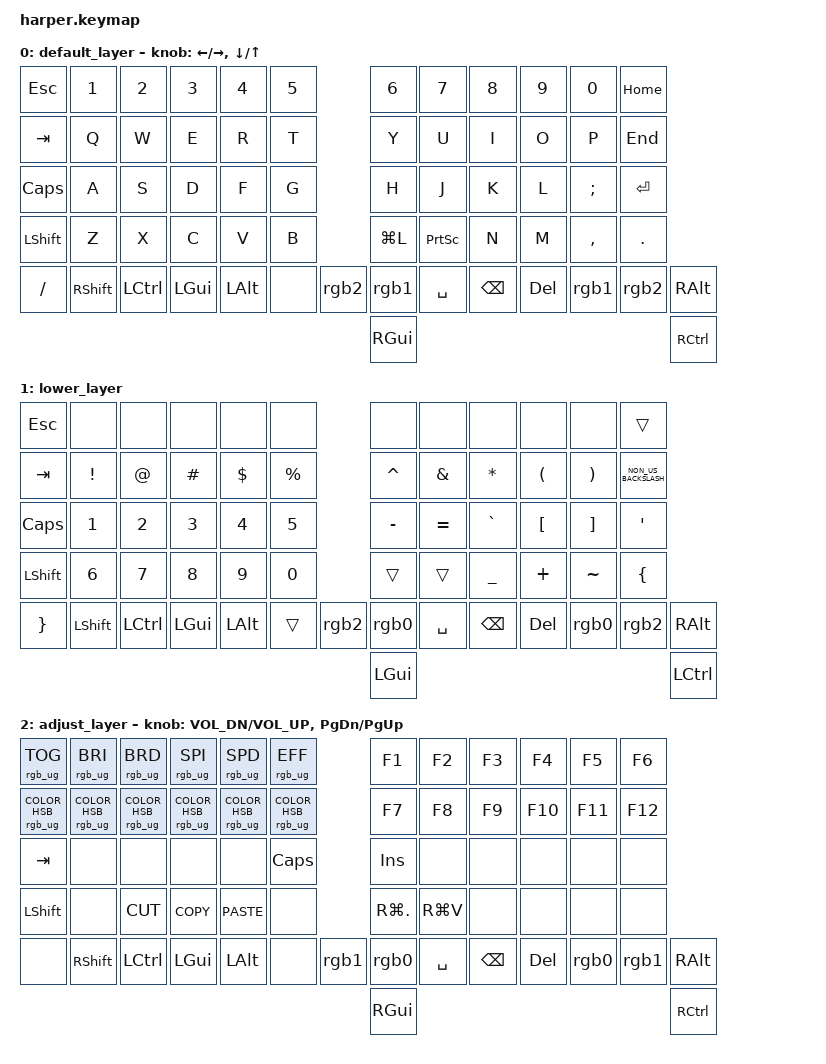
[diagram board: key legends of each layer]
#include <behaviors.dtsi>
#include <dt-bindings/zmk/keys.h>
#include <dt-bindings/zmk/rgb.h>

#define DEF 0
#define LWR 1
#define RSE 2
#define ADJ 3

&lt {
    quick_tap_ms = <200>;
};

&mt {
    quick_tap_ms = <200>;
};

/ {
    macros {
        ez: ez {
            compatible = "zmk,behavior-macro";
            #binding-cells = <0>;
            bindings = <&kp FSLH &kp E &kp Z &kp ENTER>;
            label = "EZ";
        };

        get_better: get_better {
            compatible = "zmk,behavior-macro";
            #binding-cells = <0>;
            bindings = <&kp FSLH &kp G &kp E &kp T &kp SPACE &kp B &kp E &kp T &kp T &kp E &kp R &kp SPACE &kp B &kp U &kp D &kp D &kp Y &kp ENTER>;
            label = "GET_BETTER";
        };

        cry: cry {
            compatible = "zmk,behavior-macro";
            #binding-cells = <0>;
            bindings = <&kp FSLH &kp D &kp O &kp N &kp SQT &kp T &kp SPACE &kp C &kp R &kp Y &kp ENTER>;
            label = "CRY";
        };

        weak: weak {
            compatible = "zmk,behavior-macro";
            #binding-cells = <0>;
            bindings = <&kp FSLH &kp Y &kp O &kp U &kp SQT &kp R &kp E &kp SPACE &kp S &kp O &kp SPACE &kp W &kp E &kp A &kp K &kp SPACE &kp L &kp M &kp A &kp O &kp ENTER>;
            label = "WEAK";
        };

        del: del {
            compatible = "zmk,behavior-macro";
            #binding-cells = <0>;
            bindings = <&kp FSLH &kp D &kp E &kp L &kp E &kp T &kp E &kp SPACE &kp T &kp H &kp I &kp S &kp SPACE &kp G &kp A &kp M &kp E &kp SPACE &kp T &kp R &kp A &kp S &kp H &kp ENTER>;
            label = "DEL";
        };

        god: god {
            compatible = "zmk,behavior-macro";
            #binding-cells = <0>;
            bindings = <&kp SLASH &kp LS(I) &kp SPACE &kp A &kp M &kp SPACE &kp G &kp O &kp D &kp SPACE &kp H &kp E &kp R &kp E &kp RET>;
            label = "GOD";
        };

        fish: fish {
            compatible = "zmk,behavior-macro";
            #binding-cells = <0>;
            bindings = <&kp FSLH &kp LS(I) &kp SPACE &kp A &kp M &kp SPACE &kp J &kp U &kp S &kp T &kp SPACE &kp A &kp SPACE &kp F &kp I &kp S &kp H &kp RET>;
            label = "FISH";
        };

        rgb1: rgb1 {
            compatible = "zmk,behavior-macro";
            #binding-cells = <0>;
            bindings = <&tog 1 &rgb_ug RGB_COLOR_HSB(183,100,79)>;
            label = "RGB1";
        };

        rgb2: rgb2 {
            compatible = "zmk,behavior-macro";
            #binding-cells = <0>;
            bindings = <&to 2 &rgb_ug RGB_COLOR_HSB(104,100,78)>;
            label = "RGB2";
        };

        rgb0: rgb0 {
            compatible = "zmk,behavior-macro";
            #binding-cells = <0>;
            bindings = <&to 0 &rgb_ug RGB_COLOR_HSB(300,93,78)>;
            label = "RGB0";
        };
    };

    combos {
        compatible = "zmk,combos";

        f1 {
            bindings = <&kp F1>;
            key-positions = <50 1>;
        };
    };

    keymap {
        compatible = "zmk,keymap";

        default_layer {
            bindings = <
&kp ESC    &kp N1     &kp N2     &kp N3    &kp N4    &kp N5         &kp N6     &kp N7           &kp N8         &kp N9      &kp N0     &kp HOME
&kp TAB    &kp Q      &kp W      &kp E     &kp R     &kp T          &kp Y      &kp U            &kp I          &kp O       &kp P      &kp END
&kp CAPS   &kp A      &kp S      &kp D     &kp F     &kp G          &kp H      &kp J            &kp K          &kp L       &kp SEMI   &kp ENTER
&kp LSHFT  &kp Z      &kp X      &kp C     &kp V     &kp B          &kp LG(L)  &kp PRINTSCREEN  &kp N          &kp M       &kp COMMA  &kp DOT
&kp FSLH   &kp RSHFT  &kp LCTRL  &kp LGUI  &kp LALT  &none   &rgb2  &rgb1      &kp SPACE        &kp BACKSPACE  &kp DELETE  &rgb1      &rgb2      &kp RALT
                                                                    &kp RGUI                                                                     &kp RCTRL
            >;

            sensor-bindings = <&inc_dec_kp LEFT_ARROW RIGHT_ARROW &inc_dec_kp DOWN_ARROW UP_ARROW>;
        };

        lower_layer {
            bindings = <
&kp ESC          &none            &none        &none     &none       &none               &none      &none          &none           &none                 &none                  &trans
&kp TAB          &kp EXCLAMATION  &kp AT_SIGN  &kp HASH  &kp DOLLAR  &kp PERCENT         &kp CARET  &kp AMPERSAND  &kp ASTERISK    &kp LEFT_PARENTHESIS  &kp RIGHT_PARENTHESIS  &kp NON_US_BACKSLASH
&kp CAPS         &kp N1           &kp N2       &kp N3    &kp N4      &kp N5              &kp MINUS  &kp EQUAL      &kp GRAVE       &kp LBKT              &kp RBKT               &kp SINGLE_QUOTE
&kp LSHFT        &kp N6           &kp N7       &kp N8    &kp N9      &kp N0              &trans     &trans         &kp UNDERSCORE  &kp PLUS              &kp TILDE              &kp LEFT_BRACE
&kp RIGHT_BRACE  &kp LSHFT        &kp LCTRL    &kp LGUI  &kp LALT    &trans       &rgb2  &rgb0      &kp SPACE      &kp BSPC        &kp DEL               &rgb0                  &rgb2                 &kp RALT
                                                                                         &kp LGUI                                                                                                     &kp LCTRL
            >;
        };

        adjust_layer {
            bindings = <
&rgb_ug RGB_TOG                   &rgb_ug RGB_BRI                   &rgb_ug RGB_BRD                   &rgb_ug RGB_SPI                   &rgb_ug RGB_SPD                   &rgb_ug RGB_EFF                          &kp F1          &kp F2     &kp F3         &kp F4      &kp F5   &kp F6
&rgb_ug RGB_COLOR_HSB(296,90,79)  &rgb_ug RGB_COLOR_HSB(60,100,76)  &rgb_ug RGB_COLOR_HSB(142,74,71)  &rgb_ug RGB_COLOR_HSB(38,100,83)  &rgb_ug RGB_COLOR_HSB(241,93,61)  &rgb_ug RGB_COLOR_HSB(279,77,33)         &kp F7          &kp F8     &kp F9         &kp F10     &kp F11  &kp F12
&kp TAB                           &none                             &none                             &none                             &none                             &kp CLCK                                 &kp INSERT      &none      &none          &none       &none    &none
&kp LEFT_SHIFT                    &none                             &kp K_CUT                         &kp K_COPY                        &kp K_PASTE                       &none                                    &kp RG(PERIOD)  &kp RG(V)  &none          &none       &none    &none
&none                             &kp RSHIFT                        &kp LCTRL                         &kp LGUI                          &kp LALT                          &none                             &rgb1  &rgb0           &kp SPACE  &kp BACKSPACE  &kp DELETE  &rgb0    &rgb1    &kp RALT
                                                                                                                                                                                                                   &kp RGUI                                                                &kp RCTRL
            >;

            sensor-bindings = <&inc_dec_kp C_VOL_DN C_VOL_UP &inc_dec_kp PG_DN PG_UP>;
        };
    };
};
